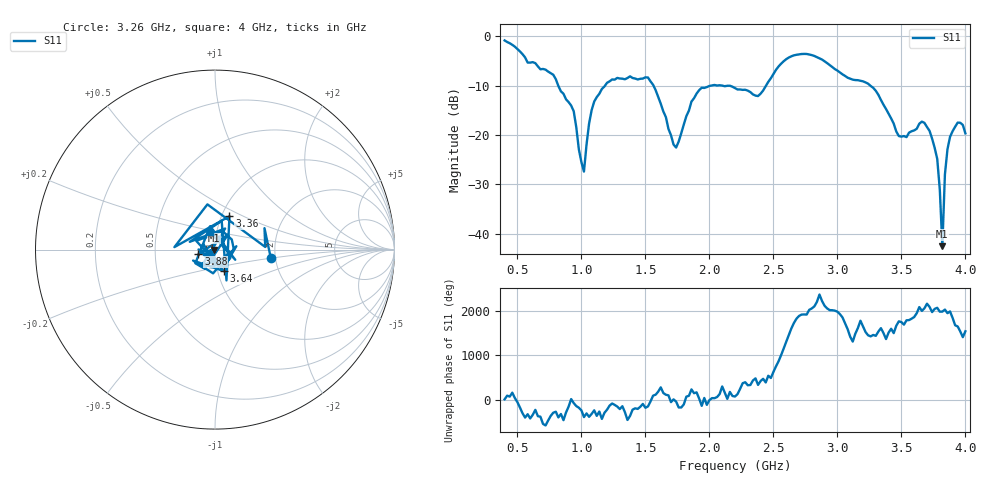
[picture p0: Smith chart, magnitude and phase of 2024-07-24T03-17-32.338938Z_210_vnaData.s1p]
!Created with skrf (http://scikit-rf.org).
# Hz S RI R 50.0
!freq ReS11 ImS11
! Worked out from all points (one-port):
!   181 points, 400 MHz to 4 GHz, reference 50 ohm
!   lowest |S11| = -42.5 dB at 3.82 GHz (marker M1), VSWR 1.02, Z = 49.3 - j0.132 ohm
!   |S11| at or under -10 dB: 819.1 MHz to 1.185 GHz (365.5 MHz wide, 36.5 % of centre); 1.563 GHz to 2.013 GHz (450.3 MHz wide, 25.2 % of centre); 3.257 GHz to end of sweep (the widest 3 of 4)
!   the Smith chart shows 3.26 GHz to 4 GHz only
!   S11 on the Smith chart (normalised r, x): 3.26 GHz: 1.89, -0.19; 3.36 GHz: 1.09, +0.42; 3.64 GHz: 1.07, -0.26; 3.88 GHz: 0.83, -0.04; 4 GHz: 0.92, +0.19
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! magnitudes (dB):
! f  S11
! 400 MHz  -0.8
! 860 MHz  -11.6
! 940 MHz  -15.2
! 1.02 GHz  -27.4
! 1.06 GHz  -17.7
! 1.1 GHz  -13.2
! 1.3 GHz  -8.6
! 1.52 GHz  -8.4
! 1.72 GHz  -21.9
! 1.76 GHz  -21.3
! 1.92 GHz  -10.9
! 2.2 GHz  -10.5
! 2.38 GHz  -12.1
! 2.66 GHz  -3.9
! 3.1 GHz  -8.6
! 3.26 GHz  -10.1
! 3.36 GHz  -13.9
! 3.48 GHz  -20.2
! 3.56 GHz  -19.5
! 3.64 GHz  -17.7
! 3.72 GHz  -19.2
! 3.78 GHz  -24.8
! 3.8 GHz  -31.1
! 3.82 GHz  -42.5
! 3.84 GHz  -28.0
! 3.88 GHz  -20.4
! 3.94 GHz  -17.5
! 4 GHz  -19.7
